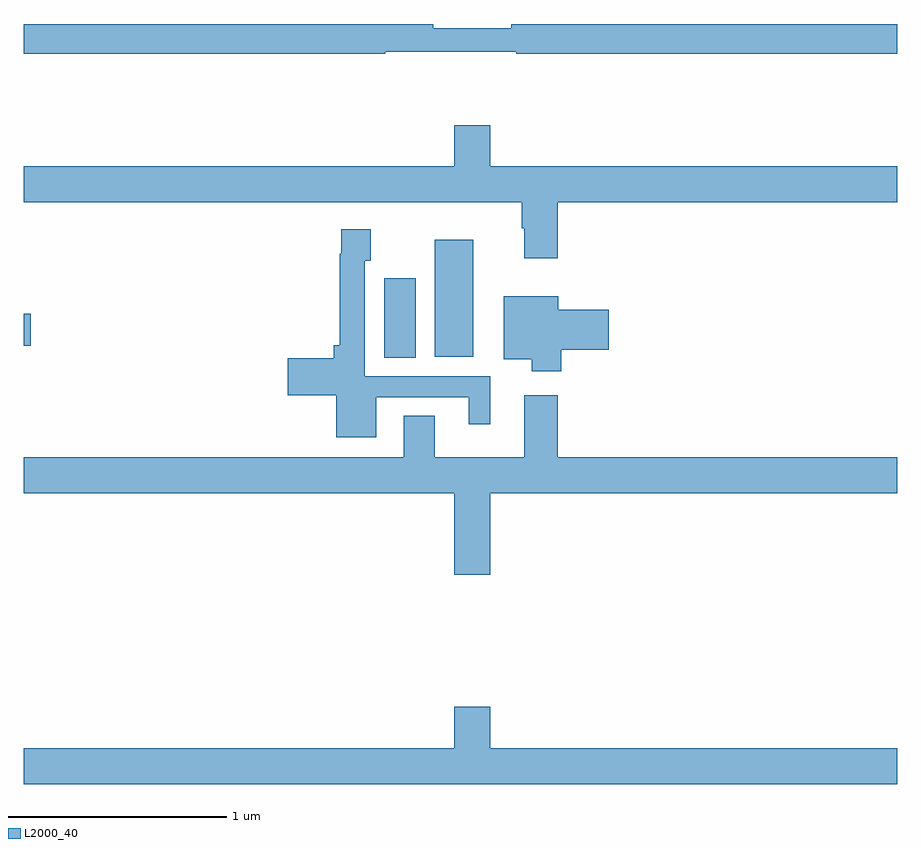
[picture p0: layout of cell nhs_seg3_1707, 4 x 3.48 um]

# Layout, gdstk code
import gdstk
lib = gdstk.Library(unit=1e-6, precision=1e-09)
def R(c, l, rs):  # rectangles x0, y0, x1, y1
    for r in rs: c.add(gdstk.rectangle(r[:2], r[2:], *l))
def P(c, l, *ps):  # polygons
    for p in ps: c.add(gdstk.Polygon(p, *l))
L2000_40 = (2000, 40)

nhs_seg3_1707 = lib.new_cell('nhs_seg3_1707')
R(nhs_seg3_1707, L2000_40, [(200.651,706.864,200.794,707.227), (200.882,706.868,201.058,707.404), (199,706.919,199.033,707.066)])
P(nhs_seg3_1707, L2000_40, [(200.655,708.264),(201.255,708.264),(201.255,708.256),(203,708.256),(203,708.392),(201.232,708.392),(201.232,708.373),(200.876,708.373),(200.876,708.392),(199,708.392),(199,708.256),(200.655,708.256)],
  [(201.136,707.929),(200.972,707.929),(200.972,707.74),(199,707.74),(199,707.576),(201.281,707.576),(201.281,707.456),(201.293,707.456),(201.293,707.319),(201.446,707.319),(201.446,707.576),(203,707.576),(203,707.74),(201.136,707.74)],
  [(200.614,706.683),(201.038,706.683),(201.038,706.56),(201.136,706.56),(201.136,706.779),(200.562,706.779),(200.562,707.307),(200.589,707.307),(200.589,707.452),(200.454,707.452),(200.454,707.339),(200.446,707.339),(200.446,706.921),(200.42,706.921),(200.42,706.862),(200.208,706.862),(200.208,706.691),(200.432,706.691),(200.432,706.499),(200.614,706.499)],
  [(201.461,706.901),(201.679,706.901),(201.679,707.084),(201.448,707.084),(201.448,707.146),(201.197,707.146),(201.197,706.856),(201.326,706.856),(201.326,706.802),(201.461,706.802)],
  [(201.136,706.244),(203,706.244),(203,706.408),(201.446,706.408),(201.446,706.693),(201.293,706.693),(201.293,706.408),(200.881,706.408),(200.881,706.598),(200.741,706.598),(200.741,706.408),(199,706.408),(199,706.244),(200.972,706.244),(200.972,705.87),(201.136,705.87)],
  [(203,705.076),(201.136,705.076),(201.136,705.265),(200.972,705.265),(200.972,705.076),(199,705.076),(199,704.912),(203,704.912)])

lib.write_gds('nhs_seg3_1707.gds')
